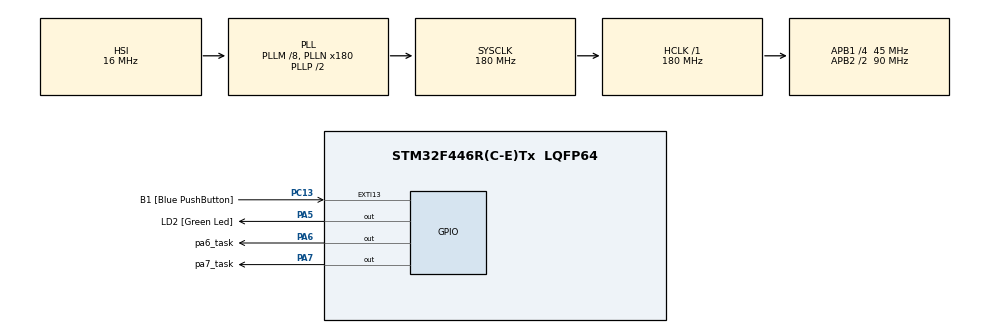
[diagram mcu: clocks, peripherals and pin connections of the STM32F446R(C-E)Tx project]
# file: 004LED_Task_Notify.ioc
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Mcu.Family=STM32F4
Mcu.Name=STM32F446R(C-E)Tx
Mcu.Package=LQFP64
NVIC.PriorityGroup=NVIC_PRIORITYGROUP_4
NVIC.TIM6_DAC_IRQn=true\:15\:0\:false\:false\:true\:false\:true\:true
NVIC.TimeBase=TIM6_DAC_IRQn
NVIC.TimeBaseIP=TIM6
PA13.GPIO_Label=TMS
PA13.Signal=SYS_JTMS-SWDIO
PA14.GPIO_Label=TCK
PA14.Signal=SYS_JTCK-SWCLK
PA2.GPIO_Label=USART_TX
PA2.Signal=USART2_TX
PA3.GPIO_Label=USART_RX
PA3.Signal=USART2_RX
PA5.GPIO_Label=LD2 [Green Led]
PA5.Signal=GPIO_Output
PA6.GPIO_Label=pa6_task
PA6.Signal=GPIO_Output
PA7.GPIO_Label=pa7_task
PA7.Signal=GPIO_Output
PB3.GPIO_Label=SWO
PB3.Signal=SYS_JTDO-SWO
PC13.GPIO_Label=B1 [Blue PushButton]
PC13.GPIO_ModeDefaultEXTI=GPIO_MODE_IT_FALLING
PC13.Signal=GPXTI13
PC14-OSC32_IN.Signal=RCC_OSC32_IN
PC15-OSC32_OUT.Signal=RCC_OSC32_OUT
PH0-OSC_IN.Signal=RCC_OSC_IN
PH1-OSC_OUT.Signal=RCC_OSC_OUT
ProjectManager.HeapSize=0x200
ProjectManager.StackSize=0x400
ProjectManager.TargetToolchain=STM32CubeIDE
RCC.AHBFreq_Value=180000000
RCC.APB1CLKDivider=RCC_HCLK_DIV4
RCC.APB1Freq_Value=45000000
RCC.APB1TimFreq_Value=90000000
RCC.APB2CLKDivider=RCC_HCLK_DIV2
RCC.APB2Freq_Value=90000000
RCC.APB2TimFreq_Value=180000000
RCC.CortexFreq_Value=180000000
RCC.FLatency-AdvancedSettings=FLASH_LATENCY_5
RCC.HCLKFreq_Value=180000000
RCC.HSE_VALUE=8000000
RCC.HSI_VALUE=16000000
RCC.LSE_VALUE=32768
RCC.PLLM=8
RCC.PLLN=180
RCC.SYSCLKFreq_VALUE=180000000
RCC.SYSCLKSource=RCC_SYSCLKSOURCE_PLLCLK
RCC.USBFreq_Value=180000000
RCC.VCOOutputFreq_Value=360000000
VP_SYS_VS_tim6.Mode=TIM6
board=NUCLEO-F446RE

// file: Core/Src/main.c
/* USER CODE BEGIN Header */
/**
  ******************************************************************************
  * @file           : main.c
  * @brief          : Main program body
  ******************************************************************************
  * @attention
  *
  * Copyright (c) 2025 STMicroelectronics.
  * All rights reserved.
  *
  * This software is licensed under terms that can be found in the LICENSE file
  * in the root directory of this software component.
  * If no LICENSE file comes with this software, it is provided AS-IS.
  *
  ******************************************************************************
  */
/* USER CODE END Header */
#include "main.h"

/* USER CODE BEGIN Includes */
#include "FreeRTOS.h"
#include "task.h"
#include <stdint.h>
/* USER CODE END Includes */

/* USER CODE BEGIN PD */
#define DWT_CTRL_REG 		(*(volatile uint32_t *)0xE0001000)
/* USER CODE END PD */

/* USER CODE BEGIN PV */
TaskHandle_t volatile nextTaskToBeDeleted_Handle = NULL;
TaskHandle_t led_Handle, gpioA6_Handle, gpioA7_Handle, btn_Handle;

/* USER CODE END PV */

void SystemClock_Config(void);
static void MX_GPIO_Init(void);
/* USER CODE BEGIN PFP */
static void user_led_handler (void *param);
static void gpioA_pin6_handler (void *param);
static void gpioA_pin7_handler(void *param);
static void btn_handler(void *param);

extern  void SEGGER_UART_init(uint32_t);
/* USER CODE END PFP */

int main(void)
{

  /* USER CODE BEGIN 1 */
	BaseType_t status;

  /* USER CODE END 1 */

  /* MCU Configuration--------------------------------------------------------*/

  /* Reset of all peripherals, Initializes the Flash interface and the Systick. */
  HAL_Init();

  /* Configure the system clock */
  SystemClock_Config();

  /* Initialize all configured peripherals */
  MX_GPIO_Init();
  /* USER CODE BEGIN 2 */
  //Enable the Data watch
  DWT_CTRL_REG |= (1 << 0);

  //Enable Segger uart continuous record
  SEGGER_UART_init(500000);

  //Enable Segger and call
  SEGGER_SYSVIEW_Conf();
  //SEGGER_SYSVIEW_Start();

  status = xTaskCreate(user_led_handler, "User_LED", 200, NULL, 3, &led_Handle);
  configASSERT(status == pdPASS);

  nextTaskToBeDeleted_Handle = led_Handle;

  status = xTaskCreate(gpioA_pin6_handler, "portA6_Toggle", 200, NULL, 2, &gpioA6_Handle);
  configASSERT(status == pdPASS);

  status = xTaskCreate(gpioA_pin7_handler, "portA&_Toggle", 200, NULL, 1, &gpioA7_Handle);
  configASSERT(status == pdPASS);

  status = xTaskCreate(btn_handler, "Button Press", 200, NULL, 4, &btn_Handle);
  configASSERT(status == pdPASS);

  //start the freertos scheduler
  vTaskStartScheduler();

  //if control comes here means there is not enough heap memory to launch the scheduler

  /* USER CODE END 2 */

  /* Infinite loop */
  while (1)
  {

  }
}

void SystemClock_Config(void)
{
  RCC_OscInitTypeDef RCC_OscInitStruct = {0};
  RCC_ClkInitTypeDef RCC_ClkInitStruct = {0};

  /** Configure the main internal regulator output voltage
  */
  __HAL_RCC_PWR_CLK_ENABLE();
  __HAL_PWR_VOLTAGESCALING_CONFIG(PWR_REGULATOR_VOLTAGE_SCALE1);

  /** Initializes the RCC Oscillators according to the specified parameters
  * in the RCC_OscInitTypeDef structure.
  */
  RCC_OscInitStruct.OscillatorType = RCC_OSCILLATORTYPE_HSI;
  RCC_OscInitStruct.HSIState = RCC_HSI_ON;
  RCC_OscInitStruct.HSICalibrationValue = RCC_HSICALIBRATION_DEFAULT;
  RCC_OscInitStruct.PLL.PLLState = RCC_PLL_ON;
  RCC_OscInitStruct.PLL.PLLSource = RCC_PLLSOURCE_HSI;
  RCC_OscInitStruct.PLL.PLLM = 8;
  RCC_OscInitStruct.PLL.PLLN = 180;
  RCC_OscInitStruct.PLL.PLLP = RCC_PLLP_DIV2;
  RCC_OscInitStruct.PLL.PLLQ = 2;
  RCC_OscInitStruct.PLL.PLLR = 2;
  if (HAL_RCC_OscConfig(&RCC_OscInitStruct) != HAL_OK)
  {
    Error_Handler();
  }

  /** Activate the Over-Drive mode
  */
  if (HAL_PWREx_EnableOverDrive() != HAL_OK)
  {
    Error_Handler();
  }

  /** Initializes the CPU, AHB and APB buses clocks
  */
  RCC_ClkInitStruct.ClockType = RCC_CLOCKTYPE_HCLK|RCC_CLOCKTYPE_SYSCLK
                              |RCC_CLOCKTYPE_PCLK1|RCC_CLOCKTYPE_PCLK2;
  RCC_ClkInitStruct.SYSCLKSource = RCC_SYSCLKSOURCE_PLLCLK;
  RCC_ClkInitStruct.AHBCLKDivider = RCC_SYSCLK_DIV1;
  RCC_ClkInitStruct.APB1CLKDivider = RCC_HCLK_DIV4;
  RCC_ClkInitStruct.APB2CLKDivider = RCC_HCLK_DIV2;

  if (HAL_RCC_ClockConfig(&RCC_ClkInitStruct, FLASH_LATENCY_5) != HAL_OK)
  {
    Error_Handler();
  }
}

static void MX_GPIO_Init(void)
{
  GPIO_InitTypeDef GPIO_InitStruct = {0};
  /* USER CODE BEGIN MX_GPIO_Init_1 */
  //GPIO_InitTypeDef GPIO_InitTask = {0};
  /* USER CODE END MX_GPIO_Init_1 */

  /* GPIO Ports Clock Enable */
  __HAL_RCC_GPIOC_CLK_ENABLE();
  __HAL_RCC_GPIOH_CLK_ENABLE();
  __HAL_RCC_GPIOA_CLK_ENABLE();
  __HAL_RCC_GPIOB_CLK_ENABLE();

  /*Configure GPIO pin Output Level */
  HAL_GPIO_WritePin(GPIOA, LD2_Pin|pa6_task_Pin|pa7_task_Pin, GPIO_PIN_RESET);

  /*Configure GPIO pin : B1_Pin */
  GPIO_InitStruct.Pin = B1_Pin;
  GPIO_InitStruct.Mode = GPIO_MODE_IT_FALLING;
  GPIO_InitStruct.Pull = GPIO_NOPULL;
  HAL_GPIO_Init(B1_GPIO_Port, &GPIO_InitStruct);

  /*Configure GPIO pins : USART_TX_Pin USART_RX_Pin */
  GPIO_InitStruct.Pin = USART_TX_Pin|USART_RX_Pin;
  GPIO_InitStruct.Mode = GPIO_MODE_AF_PP;
  GPIO_InitStruct.Pull = GPIO_NOPULL;
  GPIO_InitStruct.Speed = GPIO_SPEED_FREQ_VERY_HIGH;
  GPIO_InitStruct.Alternate = GPIO_AF7_USART2;
  HAL_GPIO_Init(GPIOA, &GPIO_InitStruct);

  /*Configure GPIO pins : LD2_Pin pa6_task_Pin pa7_task_Pin */
  GPIO_InitStruct.Pin = LD2_Pin|pa6_task_Pin|pa7_task_Pin;
  GPIO_InitStruct.Mode = GPIO_MODE_OUTPUT_PP;
  GPIO_InitStruct.Pull = GPIO_NOPULL;
  GPIO_InitStruct.Speed = GPIO_SPEED_FREQ_LOW;
  HAL_GPIO_Init(GPIOA, &GPIO_InitStruct);

  /* USER CODE BEGIN MX_GPIO_Init_2 */
  //GPIO_InitTask.Mode = GPIO_MODE_OUTPUT_PP;
  //GPIO_InitTask.Pin = GPIO_PIN_5 | GPIO_PIN_6 | GPIO_PIN_7;

  //HAL_GPIO_Init(GPIOA, &GPIO_InitTask);

  /* USER CODE END MX_GPIO_Init_2 */
}

/* USER CODE BEGIN 4 */
void user_led_handler(void *param){
	BaseType_t status;

	while(1){
		HAL_GPIO_TogglePin(GPIOA, GPIO_PIN_5);
		SEGGER_SYSVIEW_PrintfTarget("user_led_task");
		status = xTaskNotifyWait(0, 0, NULL, pdMS_TO_TICKS(1000));
		if(status == pdPASS){
			vTaskSuspendAll();
			nextTaskToBeDeleted_Handle = gpioA6_Handle;
			xTaskResumeAll();
			HAL_GPIO_WritePin(GPIOA,GPIO_PIN_5, GPIO_PIN_SET);
			SEGGER_SYSVIEW_PrintfTarget("Delete user_led_task");
			vTaskDelete(NULL);
		}
	}

}

void gpioA_pin6_handler(void *param){
	BaseType_t status;

	while(1){
		HAL_GPIO_TogglePin(GPIOA, GPIO_PIN_6);
		SEGGER_SYSVIEW_PrintfTarget("gpioa6_task");
		status = xTaskNotifyWait(0, 0, NULL, pdMS_TO_TICKS(800));
		//taskYIELD();
		if(status == pdPASS){
			vTaskSuspendAll();
			nextTaskToBeDeleted_Handle = gpioA7_Handle;
			xTaskResumeAll();
			HAL_GPIO_WritePin(GPIOA,GPIO_PIN_6, GPIO_PIN_SET);
			SEGGER_SYSVIEW_PrintfTarget("Delete gpioa6_task");
			vTaskDelete(NULL);
		}
	}

}

void gpioA_pin7_handler(void *param){
	BaseType_t status;

	while(1){
		HAL_GPIO_TogglePin(GPIOA, GPIO_PIN_7);
		SEGGER_SYSVIEW_PrintfTarget("gpioa7_task");
		status = xTaskNotifyWait(0, 0, NULL, pdMS_TO_TICKS(400));
		if(status == pdPASS){
			vTaskSuspendAll();
			nextTaskToBeDeleted_Handle = NULL;
			xTaskResumeAll();
			HAL_GPIO_WritePin(GPIOA,GPIO_PIN_7, GPIO_PIN_SET);
			vTaskDelete(btn_Handle);
			SEGGER_SYSVIEW_PrintfTarget("Delete gpioa6_task and button task");
			vTaskDelete(NULL);
		}

	}

}

void btn_handler(void *param){

	static uint8_t prev_read = 1;
	uint8_t read = 1;
	while(1){

		read = HAL_GPIO_ReadPin(GPIOC, GPIO_PIN_13);
		if( !read){
			if(prev_read){
				xTaskNotify(nextTaskToBeDeleted_Handle, 0, eNoAction);
			}

		}
		prev_read = read;
		SEGGER_SYSVIEW_PrintfTarget("btn_task");
		vTaskDelay(pdMS_TO_TICKS(10));
		//taskYIELD();
	}

}

/* USER CODE END 4 */

void HAL_TIM_PeriodElapsedCallback(TIM_HandleTypeDef *htim)
{
  if (htim->Instance == TIM6)
  {
    HAL_IncTick();
  }
}

void Error_Handler(void)
{
  __disable_irq();
  while (1)
  {
  }
}
